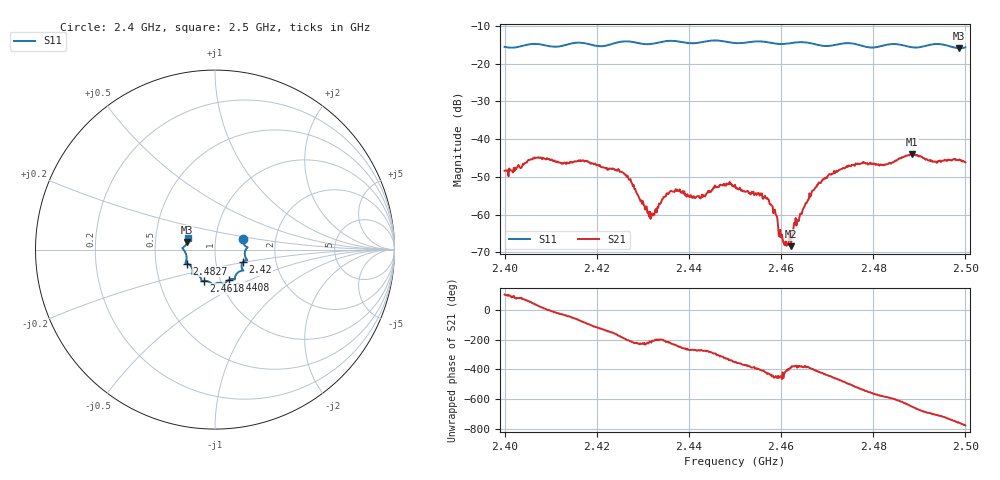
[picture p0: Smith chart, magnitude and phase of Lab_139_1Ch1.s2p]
# Hz S RI R 50
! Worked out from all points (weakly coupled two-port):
!   601 points, 2.4 GHz to 2.5 GHz, reference 50 ohm
!   highest |S21| = -44.04 dB at 2.4883 GHz (marker M1); lowest = -68.4 dB at 2.4622 GHz (marker M2)
!   lowest |S11| = -15.9 dB at 2.4987 GHz (marker M3), VSWR 1.38, Z = 36.5 + j3.24 ohm
!   |S11| at or under -10 dB: start of sweep to end of sweep
!   S12 and S22 are empty: the file has one direction only
!   S11 on the Smith chart (normalised r, x): 2.4 GHz: 1.35, +0.17; 2.42 GHz: 1.36, -0.19; 2.4408 GHz: 1.10, -0.38; 2.4618 GHz: 0.83, -0.30; 2.4827 GHz: 0.72, -0.12; 2.5 GHz: 0.73, +0.10
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2.4e9  0.1547 0.0612  -0.000958 0.00369  0 0  0 0
2.406833e9  0.1814 0.0124  0.00462 0.00326  0 0  0 0
2.416667e9  0.179 -0.0586  0.00124 -0.00496  0 0  0 0
2.42e9  0.1565 -0.0691  -0.00197 -0.00401  0 0  0 0
2.426167e9  0.1582 -0.1171  -0.00328 0.000776  0 0  0 0
2.4315e9  0.1201 -0.1354  -0.000953 0.000548  0 0  0 0
2.433333e9  0.1117 -0.153  -0.00117 0.000384  0 0  0 0
2.436167e9  0.1111 -0.1661  -0.00143 0.00147  0 0  0 0
2.440833e9  0.0776 -0.1685  -4.44e-05 0.00167  0 0  0 0
2.45e9  0.0267 -0.1849  0.00246 0.000321  0 0  0 0
2.456833e9  -0.0167 -0.1919  0.000775 -0.00143  0 0  0 0
2.458667e9  -0.0291 -0.182  -6.49e-05 -0.00116  0 0  0 0
2.46e9  -0.0421 -0.1762  4.29e-05 -0.000497  0 0  0 0
2.461833e9  -0.0615 -0.1748  0.000444 -0.000333  0 0  0 0
2.462167e9  -0.064 -0.1752  0.000335 -0.000185  0 0  0 0
2.466667e9  -0.0758 -0.1683  0.00164 -0.00118  0 0  0 0
2.4745e9  -0.1269 -0.1363  -0.0031 -0.00296  0 0  0 0
2.482667e9  -0.1577 -0.0777  -0.00325 0.00323  0 0  0 0
2.483333e9  -0.1616 -0.0768  -0.00299 0.00362  0 0  0 0
2.488333e9  -0.1583 -0.0447  0.00216 0.00589  0 0  0 0
2.498667e9  -0.1539 0.0432  0.00411 -0.00345  0 0  0 0
2.5e9  -0.1508 0.0631  0.00262 -0.00416  0 0  0 0
